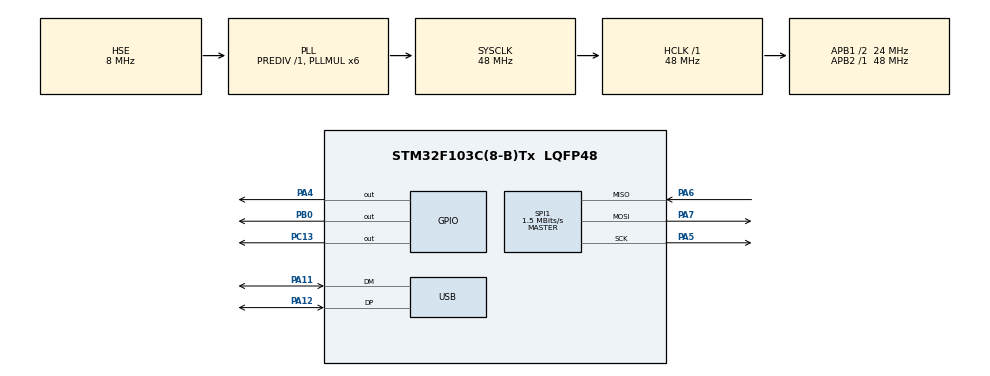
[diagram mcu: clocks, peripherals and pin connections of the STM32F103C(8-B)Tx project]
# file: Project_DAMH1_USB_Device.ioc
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Mcu.Family=STM32F1
Mcu.Name=STM32F103C(8-B)Tx
Mcu.Package=LQFP48
NVIC.PriorityGroup=NVIC_PRIORITYGROUP_4
NVIC.USB_LP_CAN1_RX0_IRQn=true\:0\:0\:false\:false\:true\:false\:true\:true
PA11.Mode=Device
PA11.Signal=USB_DM
PA12.Mode=Device
PA12.Signal=USB_DP
PA13.Mode=Serial_Wire
PA13.Signal=SYS_JTMS-SWDIO
PA14.Mode=Serial_Wire
PA14.Signal=SYS_JTCK-SWCLK
PA4.Signal=GPIO_Output
PA5.Mode=Full_Duplex_Master
PA5.Signal=SPI1_SCK
PA6.Mode=Full_Duplex_Master
PA6.Signal=SPI1_MISO
PA7.Mode=Full_Duplex_Master
PA7.Signal=SPI1_MOSI
PB0.Signal=GPIO_Output
PC13-TAMPER-RTC.Signal=GPIO_Output
PD0-OSC_IN.Mode=HSE-External-Oscillator
PD0-OSC_IN.Signal=RCC_OSC_IN
PD1-OSC_OUT.Mode=HSE-External-Oscillator
PD1-OSC_OUT.Signal=RCC_OSC_OUT
ProjectManager.HeapSize=0x200
ProjectManager.StackSize=0x400
ProjectManager.TargetToolchain=MDK-ARM V4
RCC.AHBFreq_Value=48000000
RCC.APB1CLKDivider=RCC_HCLK_DIV2
RCC.APB1Freq_Value=24000000
RCC.APB1TimFreq_Value=48000000
RCC.APB2Freq_Value=48000000
RCC.APB2TimFreq_Value=48000000
RCC.HCLKFreq_Value=48000000
RCC.PLLMUL=RCC_PLL_MUL6
RCC.SYSCLKFreq_VALUE=48000000
RCC.SYSCLKSource=RCC_SYSCLKSOURCE_PLLCLK
RCC.USBFreq_Value=48000000
SPI1.BaudRatePrescaler=SPI_BAUDRATEPRESCALER_32
SPI1.CalculateBaudRate=1.5 MBits/s
SPI1.Direction=SPI_DIRECTION_2LINES
SPI1.Mode=SPI_MODE_MASTER
SPI1.VirtualType=VM_MASTER
USB_DEVICE.CLASS_NAME_FS=HID
USB_DEVICE.VirtualMode=Hid
USB_DEVICE.VirtualModeFS=Hid_FS
VP_USB_DEVICE_VS_USB_DEVICE_HID_FS.Mode=HID_FS
board=custom

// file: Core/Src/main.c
/* USER CODE BEGIN Header */
/**
  ******************************************************************************
  * @file           : main.c
  * @brief          : Main program body
  ******************************************************************************
  * @attention
  *
  * Copyright (c) 2024 STMicroelectronics.
  * All rights reserved.
  *
  * This software is licensed under terms that can be found in the LICENSE file
  * in the root directory of this software component.
  * If no LICENSE file comes with this software, it is provided AS-IS.
  *
  ******************************************************************************
  */
/* USER CODE END Header */
#include "main.h"
#include "usb_device.h"

/* USER CODE BEGIN Includes */
#include "usbd_hid.h"
#include "NRF24L01.h"
#include "string.h"
/* USER CODE END Includes */

SPI_HandleTypeDef hspi1;

void SystemClock_Config(void);
static void MX_GPIO_Init(void);
static void MX_SPI1_Init(void);

/* USER CODE BEGIN 0 */
/****************** NRF RELATED *******************/
uint8_t RxAddress[] = {0xEE,0xDD,0xCC,0xBB,0xAA};
int16_t gyro_raw[2];   //gyro_y_raw, gyro_z_raw

/****************** USB RELATED *******************/
extern USBD_HandleTypeDef hUsbDeviceFS;
int8_t mousehid[] = {0,0,0,0};

long map(long x, long in_min, long in_max, long out_min, long out_max)
{
	long value;
  value = (x - in_min) * (out_max - out_min) / (in_max - in_min) + out_min;
	return value;
}

void convert_Data(void)
{
		int8_t XPos = 0, YPos = 0;

    XPos = map(gyro_raw[1], -32768, 32767, -127, 127);
    YPos = map(gyro_raw[0], -32768, 32767, -127, 127);
		HAL_Delay(1);// Adjust the delay as needed

		if ((XPos > 3) || (XPos <-3))
		{
		 mousehid[1] = XPos;

		}

		else{
			mousehid[1] = 0;
		HAL_Delay(1);// Adjust the delay as needed

		}
		if ((YPos > 3) || (YPos <-3))
		{
		 mousehid[2]= YPos;

		}

		else{
			mousehid[2] = 0;
		HAL_Delay(1);// Adjust the delay as needed

		}

}

/* USER CODE END 0 */

int main(void)
{

  /* MCU Configuration--------------------------------------------------------*/

  /* Reset of all peripherals, Initializes the Flash interface and the Systick. */
  HAL_Init();

  /* Configure the system clock */
  SystemClock_Config();

  /* Initialize all configured peripherals */
  MX_GPIO_Init();
  MX_SPI1_Init();
  MX_USB_DEVICE_Init();
  /* USER CODE BEGIN 2 */
  NRF24_Init();
  NRF24_RxMode(RxAddress, 10);
	HAL_Delay (300);
  /* USER CODE END 2 */

  /* Infinite loop */
  while (1)
  {

    /* USER CODE BEGIN 3 */
    if (isDataAvailable(1) == 1)
    {
			  NRF24_Receive((uint8_t*)gyro_raw);
  		  HAL_GPIO_TogglePin(GPIOC, GPIO_PIN_13);

        convert_Data();

        // Send updated HID report over USB
        USBD_HID_SendReport(&hUsbDeviceFS, (uint8_t*)&mousehid, sizeof(mousehid));
				HAL_Delay(1);// Adjust the delay as needed

		}

  }
  /* USER CODE END 3 */
}

void SystemClock_Config(void)
{
  RCC_OscInitTypeDef RCC_OscInitStruct = {0};
  RCC_ClkInitTypeDef RCC_ClkInitStruct = {0};
  RCC_PeriphCLKInitTypeDef PeriphClkInit = {0};

  /** Initializes the RCC Oscillators according to the specified parameters
  * in the RCC_OscInitTypeDef structure.
  */
  RCC_OscInitStruct.OscillatorType = RCC_OSCILLATORTYPE_HSE;
  RCC_OscInitStruct.HSEState = RCC_HSE_ON;
  RCC_OscInitStruct.HSEPredivValue = RCC_HSE_PREDIV_DIV1;
  RCC_OscInitStruct.HSIState = RCC_HSI_ON;
  RCC_OscInitStruct.PLL.PLLState = RCC_PLL_ON;
  RCC_OscInitStruct.PLL.PLLSource = RCC_PLLSOURCE_HSE;
  RCC_OscInitStruct.PLL.PLLMUL = RCC_PLL_MUL6;
  if (HAL_RCC_OscConfig(&RCC_OscInitStruct) != HAL_OK)
  {
    Error_Handler();
  }

  /** Initializes the CPU, AHB and APB buses clocks
  */
  RCC_ClkInitStruct.ClockType = RCC_CLOCKTYPE_HCLK|RCC_CLOCKTYPE_SYSCLK
                              |RCC_CLOCKTYPE_PCLK1|RCC_CLOCKTYPE_PCLK2;
  RCC_ClkInitStruct.SYSCLKSource = RCC_SYSCLKSOURCE_PLLCLK;
  RCC_ClkInitStruct.AHBCLKDivider = RCC_SYSCLK_DIV1;
  RCC_ClkInitStruct.APB1CLKDivider = RCC_HCLK_DIV2;
  RCC_ClkInitStruct.APB2CLKDivider = RCC_HCLK_DIV1;

  if (HAL_RCC_ClockConfig(&RCC_ClkInitStruct, FLASH_LATENCY_1) != HAL_OK)
  {
    Error_Handler();
  }
  PeriphClkInit.PeriphClockSelection = RCC_PERIPHCLK_USB;
  PeriphClkInit.UsbClockSelection = RCC_USBCLKSOURCE_PLL;
  if (HAL_RCCEx_PeriphCLKConfig(&PeriphClkInit) != HAL_OK)
  {
    Error_Handler();
  }
}

static void MX_SPI1_Init(void)
{

  /* SPI1 parameter configuration*/
  hspi1.Instance = SPI1;
  hspi1.Init.Mode = SPI_MODE_MASTER;
  hspi1.Init.Direction = SPI_DIRECTION_2LINES;
  hspi1.Init.DataSize = SPI_DATASIZE_8BIT;
  hspi1.Init.CLKPolarity = SPI_POLARITY_LOW;
  hspi1.Init.CLKPhase = SPI_PHASE_1EDGE;
  hspi1.Init.NSS = SPI_NSS_SOFT;
  hspi1.Init.BaudRatePrescaler = SPI_BAUDRATEPRESCALER_32;
  hspi1.Init.FirstBit = SPI_FIRSTBIT_MSB;
  hspi1.Init.TIMode = SPI_TIMODE_DISABLE;
  hspi1.Init.CRCCalculation = SPI_CRCCALCULATION_DISABLE;
  hspi1.Init.CRCPolynomial = 10;
  if (HAL_SPI_Init(&hspi1) != HAL_OK)
  {
    Error_Handler();
  }

}

static void MX_GPIO_Init(void)
{
  GPIO_InitTypeDef GPIO_InitStruct = {0};

  /* GPIO Ports Clock Enable */
  __HAL_RCC_GPIOC_CLK_ENABLE();
  __HAL_RCC_GPIOD_CLK_ENABLE();
  __HAL_RCC_GPIOA_CLK_ENABLE();
  __HAL_RCC_GPIOB_CLK_ENABLE();

  /*Configure GPIO pin Output Level */
  HAL_GPIO_WritePin(GPIOC, GPIO_PIN_13, GPIO_PIN_RESET);

  /*Configure GPIO pin Output Level */
  HAL_GPIO_WritePin(GPIOA, GPIO_PIN_4, GPIO_PIN_RESET);

  /*Configure GPIO pin Output Level */
  HAL_GPIO_WritePin(GPIOB, GPIO_PIN_0, GPIO_PIN_RESET);

  /*Configure GPIO pin : PC13 */
  GPIO_InitStruct.Pin = GPIO_PIN_13;
  GPIO_InitStruct.Mode = GPIO_MODE_OUTPUT_PP;
  GPIO_InitStruct.Pull = GPIO_NOPULL;
  GPIO_InitStruct.Speed = GPIO_SPEED_FREQ_LOW;
  HAL_GPIO_Init(GPIOC, &GPIO_InitStruct);

  /*Configure GPIO pin : PA4 */
  GPIO_InitStruct.Pin = GPIO_PIN_4;
  GPIO_InitStruct.Mode = GPIO_MODE_OUTPUT_PP;
  GPIO_InitStruct.Pull = GPIO_NOPULL;
  GPIO_InitStruct.Speed = GPIO_SPEED_FREQ_LOW;
  HAL_GPIO_Init(GPIOA, &GPIO_InitStruct);

  /*Configure GPIO pin : PB0 */
  GPIO_InitStruct.Pin = GPIO_PIN_0;
  GPIO_InitStruct.Mode = GPIO_MODE_OUTPUT_PP;
  GPIO_InitStruct.Pull = GPIO_NOPULL;
  GPIO_InitStruct.Speed = GPIO_SPEED_FREQ_LOW;
  HAL_GPIO_Init(GPIOB, &GPIO_InitStruct);

}

void Error_Handler(void)
{
  __disable_irq();
  while (1)
  {
  }
}
